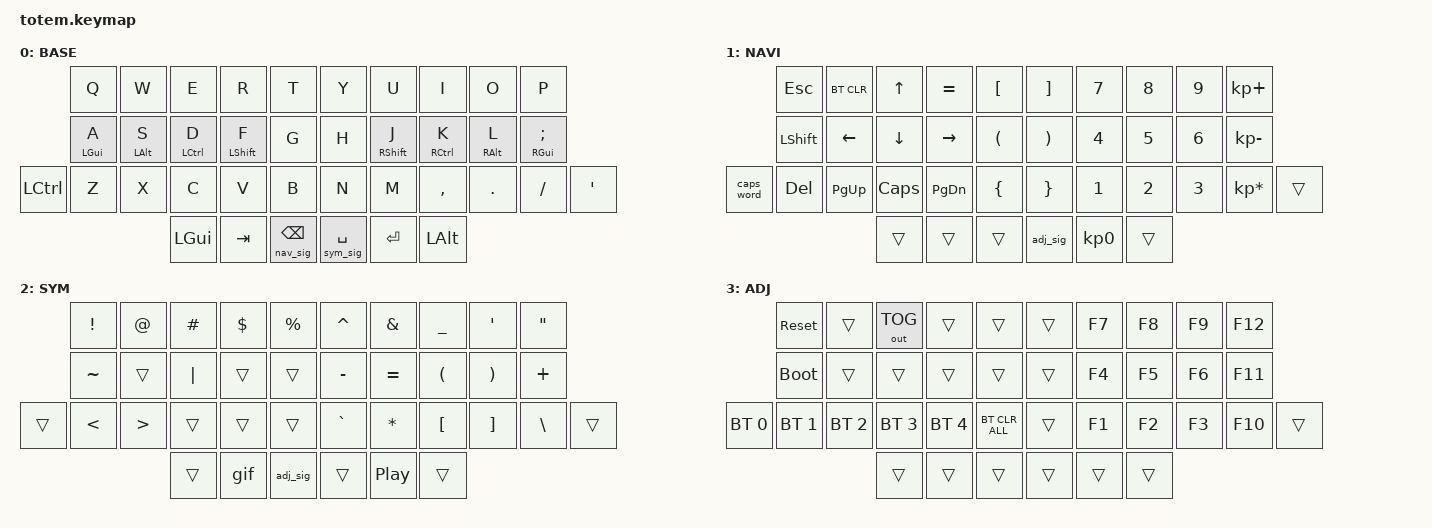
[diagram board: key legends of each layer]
//
//                                                        ▀▀▀▀▀     ▀▀▀▀▀          ▀▀█▀▀
//                                                        ▄▀▀▀▄  ▄  ▄▀▀▀▄  ▄  ▄▀▀▀▄  █  ▄▀▀▀▄
//                                                        █   █  █  █   █  █  █   █  █  █   █
//                                                         ▀▀▀   █   ▀▀▀   █   ▀▀▀   ▀   ▀▀▀
//                                                               █      ▄▄▄█▄▄▄    █   █  
//                                                               ▀      █  █  █     █▄█
//                                                             ▀▀▀▀▀    █  █  █      ▀
//                                                                      ▀  ▀  ▀
//
// ▄▄▄▄▄▄▄▄▄▄▄▄▄▄▄▄▄▄▄▄▄▄▄▄▄▄▄▄▄▄▄▄▄▄▄▄▄▄▄▄▄▄▄▄▄▄▄▄▄▄▄▄▄▄▄▄▄▄▄▄▄▄▄▄▄▄▄▄▄▄▄▄▄▄▄▄▄▄▄▄▄▄▄▄▄▄▄▄▄▄▄▄▄▄▄▄▄▄▄▄▄▄▄▄▄▄▄▄▄▄▄▄▄▄▄▄▄▄▄▄▄▄▄▄▄▄▄▄▄▄▄▄▄▄▄▄▄▄▄▄▄▄▄▄▄▄▄▄▄

#include <behaviors.dtsi>
#include <dt-bindings/zmk/bt.h>
#include <dt-bindings/zmk/keys.h>
#include <dt-bindings/zmk/outputs.h>
#include <dt-bindings/zmk/pointing.h>

#define BASE 0
#define NAV  1
#define SYM  2
#define ADJ  3

&mt {
    quick-tap-ms = <100>;
    global-quick-tap;
    flavor = "tap-preferred";
    tapping-term-ms = <170>;
};

/ {
    combos {
        compatible = "zmk,combos";

        combo_esc {
            timeout-ms = <50>;
            key-positions = <0 1>;
            bindings = <&kp ESC>;
        };
    };

    macros {
        // Layer keys that also hold a spare key (International 7/8/9) while their layer is on.
        // macOS ignores those keys; Totem Configurator's key test reads them to switch layers instantly.
        nav_sig: nav_sig {
            compatible = "zmk,behavior-macro";
            #binding-cells = <0>;
            wait-ms = <0>;
            tap-ms = <0>;
            bindings
                = <&macro_press &mo NAV &kp INT7>
                , <&macro_pause_for_release>
                , <&macro_release &mo NAV &kp INT7>
                ;
        };

        sym_sig: sym_sig {
            compatible = "zmk,behavior-macro";
            #binding-cells = <0>;
            wait-ms = <0>;
            tap-ms = <0>;
            bindings
                = <&macro_press &mo SYM &kp INT8>
                , <&macro_pause_for_release>
                , <&macro_release &mo SYM &kp INT8>
                ;
        };

        adj_sig: adj_sig {
            compatible = "zmk,behavior-macro";
            #binding-cells = <0>;
            wait-ms = <0>;
            tap-ms = <0>;
            bindings
                = <&macro_press &mo ADJ &kp INT9>
                , <&macro_pause_for_release>
                , <&macro_release &mo ADJ &kp INT9>
                ;
        };

        gif: gif {
            label = "giphy";
            compatible = "zmk,behavior-macro";
            #binding-cells = <0>;
            bindings =
                <&macro_press>,
                <&kp LSHFT>,
                <&macro_tap>,
                <&kp N2>,
                <&macro_release>,
                <&kp LSHFT>,
                <&macro_tap>,
                <&kp G &kp I &kp F>;
        };
    };

    behaviors {
        // Same as &lt (tap-preferred, 200 ms), but the hold also sends the layer signal.
        lt_nav: lt_nav {
            compatible = "zmk,behavior-hold-tap";
            #binding-cells = <2>;
            flavor = "tap-preferred";
            tapping-term-ms = <200>;
            bindings = <&nav_sig>, <&kp>;
        };

        lt_sym: lt_sym {
            compatible = "zmk,behavior-hold-tap";
            #binding-cells = <2>;
            flavor = "tap-preferred";
            tapping-term-ms = <200>;
            bindings = <&sym_sig>, <&kp>;
        };
    };

    keymap {
        compatible = "zmk,keymap";

        // ▄▄▄▄▄▄▄▄▄▄▄▄▄▄▄▄▄▄▄▄▄▄▄▄▄▄▄▄▄▄▄▄▄▄▄▄▄▄▄▄▄▄▄▄▄▄▄▄▄▄▄▄▄▄▄▄▄▄▄▄▄▄▄▄▄▄▄▄▄▄▄▄▄▄▄▄▄▄▄▄▄▄▄▄▄▄▄▄▄▄▄▄▄▄▄▄▄▄▄▄▄▄▄▄▄▄▄▄▄▄▄▄▄▄▄▄▄▄▄▄▄▄▄▄▄▄▄▄▄▄▄▄▄▄▄▄▄▄▄▄▄▄▄▄▄▄▄▄▄

        base_layer {
            // ┏━━━━━━━━━━━━━━━━━━━━━━━━━━━━━━━━━━━━━━━┓

            label = "BASE";

            // ┗━━━━━━━━━━━━━━━━━━━━━━━━━━━━━━━━━━━━━━━┛
            //             ┏━━━━━━━━━━━┳━━━━━━━━━━━┳━━━━━━━━━━━┳━━━━━━━━━━━┳━━━━━━━━━━━┓   ┏━━━━━━━━━━━┳━━━━━━━━━━━┳━━━━━━━━━━━┳━━━━━━━━━━━┳━━━━━━━━━━━┓
            //             ┃     Q     ┃     W     ┃     E     ┃     R     ┃     T     ┃   ┃     Y     ┃     U     ┃     I     ┃     O     ┃     P     ┃
            //             ┣━━━━━━━━━━━╋━━━━━━━━━━━╋━━━━━━━━━━━╋━━━━━━━━━━━╋━━━━━━━━━━━┫   ┣━━━━━━━━━━━╋━━━━━━━━━━━╋━━━━━━━━━━━╋━━━━━━━━━━━╋━━━━━━━━━━━┫
            //             ┃     A     ┃     S     ┃     D     ┃     F     ┃     G     ┃   ┃     H     ┃     J     ┃     K     ┃     L     ┃     ;     ┃
            // ┏━━━━━━━━━━━╋━━━━━━━━━━━╋━━━━━━━━━━━╋━━━━━━━━━━━╋━━━━━━━━━━━╋━━━━━━━━━━━┫   ┣━━━━━━━━━━━╋━━━━━━━━━━━╋━━━━━━━━━━━╋━━━━━━━━━━━╋━━━━━━━━━━━╋━━━━━━━━━━━┓
            // ┃    CTRL   ┃     Z     ┃     X     ┃     C     ┃     V     ┃     B     ┃   ┃     N     ┃     M     ┃     ,     ┃     .     ┃     /     ┃     '     ┃
            // ┗━━━━━━━━━━━┻━━━━━━━━━━━┻━━━━━━━━━━━╋━━━━━━━━━━━╋━━━━━━━━━━━╋━━━━━━━━━━━┫   ┣━━━━━━━━━━━╋━━━━━━━━━━━╋━━━━━━━━━━━╋━━━━━━━━━━━┻━━━━━━━━━━━┻━━━━━━━━━━━┛
            //                                     ┃    GUI    ┃    TAB    ┃    BSPC   ┃   ┃   SPACE   ┃   ENTER   ┃    ALT    ┃
            //                                     ┗━━━━━━━━━━━┻━━━━━━━━━━━┻━━━━━━━━━━━┛   ┗━━━━━━━━━━━┻━━━━━━━━━━━┻━━━━━━━━━━━┛

            bindings = <
                                  &kp Q       &kp W       &kp E         &kp R        &kp T             &kp Y            &kp U        &kp I         &kp O       &kp P
                                  &mt LGUI A  &mt LALT S  &mt LCTRL D   &mt LSHFT F  &kp G             &kp H            &mt RSHFT J  &mt RCTRL K   &mt RALT L  &mt RGUI SEMI
                &kp LEFT_CONTROL  &kp Z       &kp X       &kp C         &kp V        &kp B             &kp N            &kp M        &kp COMMA     &kp DOT     &kp SLASH      &kp APOS
                                                          &kp LEFT_GUI  &kp TAB      &lt_nav 0 BSPC    &lt_sym 0 SPACE  &kp RET      &kp LEFT_ALT
            >;
        };

        // ▄▄▄▄▄▄▄▄▄▄▄▄▄▄▄▄▄▄▄▄▄▄▄▄▄▄▄▄▄▄▄▄▄▄▄▄▄▄▄▄▄▄▄▄▄▄▄▄▄▄▄▄▄▄▄▄▄▄▄▄▄▄▄▄▄▄▄▄▄▄▄▄▄▄▄▄▄▄▄▄▄▄▄▄▄▄▄▄▄▄▄▄▄▄▄▄▄▄▄▄▄▄▄▄▄▄▄▄▄▄▄▄▄▄▄▄▄▄▄▄▄▄▄▄▄▄▄▄▄▄▄▄▄▄▄▄▄▄▄▄▄▄▄▄▄▄▄▄▄

        nav_layer {
            // ┏━━━━━━━━━━━━━━━━━━━━━━━━━━━━━━━━━━━━━━━┓

            label = "NAVI";

            // ┗━━━━━━━━━━━━━━━━━━━━━━━━━━━━━━━━━━━━━━━┛
            //             ┏━━━━━━━━━━━┳━━━━━━━━━━━┳━━━━━━━━━━━┳━━━━━━━━━━━┳━━━━━━━━━━━┓   ┏━━━━━━━━━━━┳━━━━━━━━━━━┳━━━━━━━━━━━┳━━━━━━━━━━━┳━━━━━━━━━━━┓
            //             ┃    ESC    ┃   BT CLR  ┃     UP    ┃     =     ┃     [     ┃   ┃     ]     ┃     7     ┃     8     ┃     9     ┃    KP +   ┃
            //             ┣━━━━━━━━━━━╋━━━━━━━━━━━╋━━━━━━━━━━━╋━━━━━━━━━━━╋━━━━━━━━━━━┫   ┣━━━━━━━━━━━╋━━━━━━━━━━━╋━━━━━━━━━━━╋━━━━━━━━━━━╋━━━━━━━━━━━┫
            //             ┃   SHIFT   ┃    LEFT   ┃    DOWN   ┃   RIGHT   ┃     (     ┃   ┃     )     ┃     4     ┃     5     ┃     6     ┃    KP -   ┃
            // ┏━━━━━━━━━━━╋━━━━━━━━━━━╋━━━━━━━━━━━╋━━━━━━━━━━━╋━━━━━━━━━━━╋━━━━━━━━━━━┫   ┣━━━━━━━━━━━╋━━━━━━━━━━━╋━━━━━━━━━━━╋━━━━━━━━━━━╋━━━━━━━━━━━╋━━━━━━━━━━━┓
            // ┃ CAPS WORD ┃    DEL    ┃    PGUP   ┃    CAPS   ┃    PGDN   ┃     {     ┃   ┃     }     ┃     1     ┃     2     ┃     3     ┃    KP *   ┃           ┃
            // ┗━━━━━━━━━━━┻━━━━━━━━━━━┻━━━━━━━━━━━╋━━━━━━━━━━━╋━━━━━━━━━━━╋━━━━━━━━━━━┫   ┣━━━━━━━━━━━╋━━━━━━━━━━━╋━━━━━━━━━━━╋━━━━━━━━━━━┻━━━━━━━━━━━┻━━━━━━━━━━━┛
            //                                     ┃           ┃           ┃           ┃   ┃    ADJ    ┃    KP 0   ┃           ┃
            //                                     ┗━━━━━━━━━━━┻━━━━━━━━━━━┻━━━━━━━━━━━┛   ┗━━━━━━━━━━━┻━━━━━━━━━━━┻━━━━━━━━━━━┛

            bindings = <
                            &kp ESC    &bt BT_CLR  &kp UP    &kp EQUAL  &kp LBKT    &kp RBKT  &kp N7        &kp N8        &kp N9        &kp KP_PLUS
                            &kp LSHFT  &kp LEFT    &kp DOWN  &kp RIGHT  &kp LPAR    &kp RPAR  &kp NUMBER_4  &kp N5        &kp NUMBER_6  &kp KP_MINUS
                &caps_word  &kp DEL    &kp PG_UP   &kp CAPS  &kp PG_DN  &kp LBRC    &kp RBRC  &kp NUMBER_1  &kp NUMBER_2  &kp NUMBER_3  &kp KP_MULTIPLY  &trans
                                                   &trans    &trans     &trans      &adj_sig  &kp KP_N0     &trans
            >;
        };

        // ▄▄▄▄▄▄▄▄▄▄▄▄▄▄▄▄▄▄▄▄▄▄▄▄▄▄▄▄▄▄▄▄▄▄▄▄▄▄▄▄▄▄▄▄▄▄▄▄▄▄▄▄▄▄▄▄▄▄▄▄▄▄▄▄▄▄▄▄▄▄▄▄▄▄▄▄▄▄▄▄▄▄▄▄▄▄▄▄▄▄▄▄▄▄▄▄▄▄▄▄▄▄▄▄▄▄▄▄▄▄▄▄▄▄▄▄▄▄▄▄▄▄▄▄▄▄▄▄▄▄▄▄▄▄▄▄▄▄▄▄▄▄▄▄▄▄▄▄▄

        sim_layer {
            // ┏━━━━━━━━━━━━━━━━━━━━━━━━━━━━━━━━━━━━━━━┓

            label = "SYM";

            // ┗━━━━━━━━━━━━━━━━━━━━━━━━━━━━━━━━━━━━━━━┛
            //             ┏━━━━━━━━━━━┳━━━━━━━━━━━┳━━━━━━━━━━━┳━━━━━━━━━━━┳━━━━━━━━━━━┓   ┏━━━━━━━━━━━┳━━━━━━━━━━━┳━━━━━━━━━━━┳━━━━━━━━━━━┳━━━━━━━━━━━┓
            //             ┃     !     ┃     @     ┃     #     ┃     $     ┃     %     ┃   ┃     ^     ┃     &     ┃     _     ┃     '     ┃     "     ┃
            //             ┣━━━━━━━━━━━╋━━━━━━━━━━━╋━━━━━━━━━━━╋━━━━━━━━━━━╋━━━━━━━━━━━┫   ┣━━━━━━━━━━━╋━━━━━━━━━━━╋━━━━━━━━━━━╋━━━━━━━━━━━╋━━━━━━━━━━━┫
            //             ┃     ~     ┃           ┃     |     ┃           ┃           ┃   ┃     -     ┃     =     ┃     (     ┃     )     ┃     +     ┃
            // ┏━━━━━━━━━━━╋━━━━━━━━━━━╋━━━━━━━━━━━╋━━━━━━━━━━━╋━━━━━━━━━━━╋━━━━━━━━━━━┫   ┣━━━━━━━━━━━╋━━━━━━━━━━━╋━━━━━━━━━━━╋━━━━━━━━━━━╋━━━━━━━━━━━╋━━━━━━━━━━━┓
            // ┃           ┃     <     ┃     >     ┃           ┃           ┃           ┃   ┃     `     ┃     *     ┃     [     ┃     ]     ┃     \     ┃           ┃
            // ┗━━━━━━━━━━━┻━━━━━━━━━━━┻━━━━━━━━━━━╋━━━━━━━━━━━╋━━━━━━━━━━━╋━━━━━━━━━━━┫   ┣━━━━━━━━━━━╋━━━━━━━━━━━╋━━━━━━━━━━━╋━━━━━━━━━━━┻━━━━━━━━━━━┻━━━━━━━━━━━┛
            //                                     ┃           ┃    GIF    ┃    ADJ    ┃   ┃           ┃    PLAY   ┃           ┃
            //                                     ┗━━━━━━━━━━━┻━━━━━━━━━━━┻━━━━━━━━━━━┛   ┗━━━━━━━━━━━┻━━━━━━━━━━━┻━━━━━━━━━━━┛

            bindings = <
                        &kp EXCL   &kp AT  &kp HASH  &kp DLLR  &kp PRCNT    &kp CARET  &kp AMPS      &kp UNDER             &kp SQT                &kp DQT
                        &kp TILDE  &trans  &kp PIPE  &trans    &trans       &kp MINUS  &kp EQUAL     &kp LEFT_PARENTHESIS  &kp RIGHT_PARENTHESIS  &kp PLUS
                &trans  &kp LT     &kp GT  &trans    &trans    &trans       &kp GRAVE  &kp ASTERISK  &kp LEFT_BRACKET      &kp RIGHT_BRACKET      &kp BSLH  &trans
                                           &trans    &gif      &adj_sig     &trans     &kp C_PP      &trans
            >;
        };

        // ▄▄▄▄▄▄▄▄▄▄▄▄▄▄▄▄▄▄▄▄▄▄▄▄▄▄▄▄▄▄▄▄▄▄▄▄▄▄▄▄▄▄▄▄▄▄▄▄▄▄▄▄▄▄▄▄▄▄▄▄▄▄▄▄▄▄▄▄▄▄▄▄▄▄▄▄▄▄▄▄▄▄▄▄▄▄▄▄▄▄▄▄▄▄▄▄▄▄▄▄▄▄▄▄▄▄▄▄▄▄▄▄▄▄▄▄▄▄▄▄▄▄▄▄▄▄▄▄▄▄▄▄▄▄▄▄▄▄▄▄▄▄▄▄▄▄▄▄▄

        adjust_layer {
            // ┏━━━━━━━━━━━━━━━━━━━━━━━━━━━━━━━━━━━━━━━┓

            label = "ADJ";

            // ┗━━━━━━━━━━━━━━━━━━━━━━━━━━━━━━━━━━━━━━━┛
            //             ┏━━━━━━━━━━━┳━━━━━━━━━━━┳━━━━━━━━━━━┳━━━━━━━━━━━┳━━━━━━━━━━━┓   ┏━━━━━━━━━━━┳━━━━━━━━━━━┳━━━━━━━━━━━┳━━━━━━━━━━━┳━━━━━━━━━━━┓
            //             ┃   RESET   ┃           ┃  OUT TOG  ┃           ┃           ┃   ┃           ┃     F7    ┃     F8    ┃     F9    ┃    F12    ┃
            //             ┣━━━━━━━━━━━╋━━━━━━━━━━━╋━━━━━━━━━━━╋━━━━━━━━━━━╋━━━━━━━━━━━┫   ┣━━━━━━━━━━━╋━━━━━━━━━━━╋━━━━━━━━━━━╋━━━━━━━━━━━╋━━━━━━━━━━━┫
            //             ┃ BOOTLOADER┃           ┃           ┃           ┃           ┃   ┃           ┃     F4    ┃     F5    ┃     F6    ┃    F11    ┃
            // ┏━━━━━━━━━━━╋━━━━━━━━━━━╋━━━━━━━━━━━╋━━━━━━━━━━━╋━━━━━━━━━━━╋━━━━━━━━━━━┫   ┣━━━━━━━━━━━╋━━━━━━━━━━━╋━━━━━━━━━━━╋━━━━━━━━━━━╋━━━━━━━━━━━╋━━━━━━━━━━━┓
            // ┃    BT 0   ┃    BT 1   ┃    BT 2   ┃    BT 3   ┃    BT 4   ┃ BT CLR ALL┃   ┃           ┃     F1    ┃     F2    ┃     F3    ┃    F10    ┃           ┃
            // ┗━━━━━━━━━━━┻━━━━━━━━━━━┻━━━━━━━━━━━╋━━━━━━━━━━━╋━━━━━━━━━━━╋━━━━━━━━━━━┫   ┣━━━━━━━━━━━╋━━━━━━━━━━━╋━━━━━━━━━━━╋━━━━━━━━━━━┻━━━━━━━━━━━┻━━━━━━━━━━━┛
            //                                     ┃           ┃           ┃           ┃   ┃           ┃           ┃           ┃
            //                                     ┗━━━━━━━━━━━┻━━━━━━━━━━━┻━━━━━━━━━━━┛   ┗━━━━━━━━━━━┻━━━━━━━━━━━┻━━━━━━━━━━━┛

            bindings = <
                              &sys_reset    &trans        &out OUT_TOG  &trans        &trans            &trans  &kp F7  &kp F8  &kp F9  &kp F12
                              &bootloader   &trans        &trans        &trans        &trans            &trans  &kp F4  &kp F5  &kp F6  &kp F11
                &bt BT_SEL 0  &bt BT_SEL 1  &bt BT_SEL 2  &bt BT_SEL 3  &bt BT_SEL 4  &bt BT_CLR_ALL    &trans  &kp F1  &kp F2  &kp F3  &kp F10  &trans
                                                          &trans        &trans        &trans            &trans  &trans  &trans
            >;
        };
    };
};
